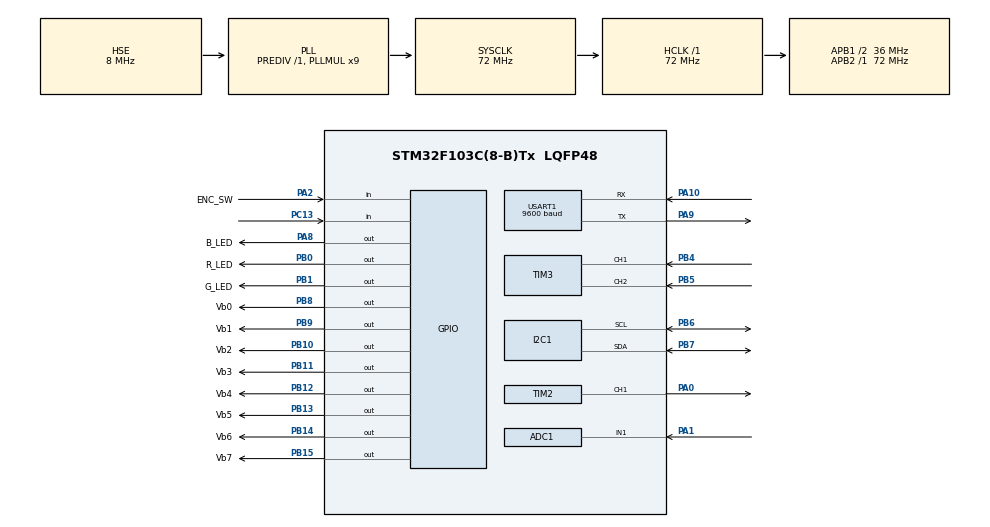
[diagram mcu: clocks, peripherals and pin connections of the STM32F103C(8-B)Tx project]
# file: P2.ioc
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ADC1.Channel-3\#ChannelRegularConversion=ADC_CHANNEL_1
ADC1.NbrOfConversionFlag=1
ADC1.Rank-3\#ChannelRegularConversion=1
ADC1.SamplingTime-3\#ChannelRegularConversion=ADC_SAMPLETIME_71CYCLES_5
ADC1.master=1
Mcu.Family=STM32F1
Mcu.Name=STM32F103C(8-B)Tx
Mcu.Package=LQFP48
NVIC.PriorityGroup=NVIC_PRIORITYGROUP_4
NVIC.TIM2_IRQn=true\:0\:0\:false\:false\:true\:true\:true\:true
NVIC.USART1_IRQn=true\:0\:0\:false\:false\:true\:true\:true\:true
PA0-WKUP.Signal=S_TIM2_CH1_ETR
PA1.Signal=ADCx_IN1
PA10.Mode=Asynchronous
PA10.Signal=USART1_RX
PA13.Mode=Serial_Wire
PA13.Signal=SYS_JTMS-SWDIO
PA14.Mode=Serial_Wire
PA14.Signal=SYS_JTCK-SWCLK
PA2.GPIO_Label=ENC_SW
PA2.GPIO_PuPd=GPIO_PULLUP
PA2.Signal=GPIO_Input
PA8.GPIO_Label=B_LED
PA8.Signal=GPIO_Output
PA9.Mode=Asynchronous
PA9.Signal=USART1_TX
PB0.GPIO_Label=R_LED
PB0.Signal=GPIO_Output
PB1.GPIO_Label=G_LED
PB1.Signal=GPIO_Output
PB10.GPIO_Label=Vb2
PB10.GPIO_Speed=GPIO_SPEED_FREQ_HIGH
PB10.Signal=GPIO_Output
PB11.GPIO_Label=Vb3
PB11.GPIO_Speed=GPIO_SPEED_FREQ_HIGH
PB11.Signal=GPIO_Output
PB12.GPIO_Label=Vb4
PB12.GPIO_Speed=GPIO_SPEED_FREQ_HIGH
PB12.Signal=GPIO_Output
PB13.GPIO_Label=Vb5
PB13.GPIO_Speed=GPIO_SPEED_FREQ_HIGH
PB13.Signal=GPIO_Output
PB14.GPIO_Label=Vb6
PB14.GPIO_Speed=GPIO_SPEED_FREQ_HIGH
PB14.Signal=GPIO_Output
PB15.GPIO_Label=Vb7
PB15.GPIO_Speed=GPIO_SPEED_FREQ_HIGH
PB15.Signal=GPIO_Output
PB4.Signal=S_TIM3_CH1
PB5.Signal=S_TIM3_CH2
PB6.Mode=I2C
PB6.Signal=I2C1_SCL
PB7.Mode=I2C
PB7.Signal=I2C1_SDA
PB8.GPIO_Label=Vb0
PB8.GPIO_Speed=GPIO_SPEED_FREQ_HIGH
PB8.Signal=GPIO_Output
PB9.GPIO_Label=Vb1
PB9.GPIO_Speed=GPIO_SPEED_FREQ_HIGH
PB9.Signal=GPIO_Output
PC13-TAMPER-RTC.GPIO_PuPd=GPIO_PULLUP
PC13-TAMPER-RTC.Signal=GPIO_Input
PD0-OSC_IN.Mode=HSE-External-Oscillator
PD0-OSC_IN.Signal=RCC_OSC_IN
PD1-OSC_OUT.Mode=HSE-External-Oscillator
PD1-OSC_OUT.Signal=RCC_OSC_OUT
ProjectManager.HeapSize=0x200
ProjectManager.StackSize=0x400
ProjectManager.TargetToolchain=Makefile
RCC.ADCPresc=RCC_ADCPCLK2_DIV6
RCC.AHBFreq_Value=72000000
RCC.APB1CLKDivider=RCC_HCLK_DIV2
RCC.APB1Freq_Value=36000000
RCC.APB1TimFreq_Value=72000000
RCC.APB2Freq_Value=72000000
RCC.APB2TimFreq_Value=72000000
RCC.HCLKFreq_Value=72000000
RCC.PLLMUL=RCC_PLL_MUL9
RCC.PLLSourceVirtual=RCC_PLLSOURCE_HSE
RCC.SYSCLKFreq_VALUE=72000000
RCC.SYSCLKSource=RCC_SYSCLKSOURCE_PLLCLK
RCC.USBFreq_Value=72000000
SH.ADCx_IN1.0=ADC1_IN1,IN1
SH.S_TIM2_CH1_ETR.0=TIM2_CH1,Output Compare1 CH1
SH.S_TIM3_CH1.0=TIM3_CH1,Encoder_Interface
SH.S_TIM3_CH2.0=TIM3_CH2,Encoder_Interface
TIM2.Channel-Output\ Compare1\ CH1=TIM_CHANNEL_1
TIM2.Period=100
TIM2.Prescaler=7199
TIM3.EncoderMode=TIM_ENCODERMODE_TI12
USART1.BaudRate=9600
USART1.StopBits=STOPBITS_1
USART1.VirtualMode=VM_ASYNC
VP_TIM2_VS_ClockSourceINT.Mode=Internal
board=custom

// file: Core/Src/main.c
/* USER CODE BEGIN Header */
/**
 ******************************************************************************
 * @file           : main.c
 * @brief          : Main program body
 ******************************************************************************
 * @attention
 *
 * Copyright (c) 2026 STMicroelectronics.
 * All rights reserved.
 *
 * This software is licensed under terms that can be found in the LICENSE file
 * in the root directory of this software component.
 * If no LICENSE file comes with this software, it is provided AS-IS.
 *
 ******************************************************************************
 */
/* USER CODE END Header */
#include "main.h"

/* USER CODE BEGIN Includes */
#include <string.h>
#include <stdio.h>
#include <stdlib.h>
/* USER CODE END Includes */

/* USER CODE BEGIN PTD */
typedef struct
{
  uint16_t raw_reading;
  uint16_t corrected_value;
} lut_point_t;

/* USER CODE END PTD */

/* USER CODE BEGIN PD */
#define STABILIZER_KP_DIVISOR 16
#define STABILIZER_MAX_STEP 10
#define STABILIZER_DEADBAND 5
#define UART_RX_BUFFER_SIZE 32
#define VREF 3.325f
#define ADC_DIVISOR 3

/* USER CODE END PD */

ADC_HandleTypeDef hadc1;

I2C_HandleTypeDef hi2c1;

TIM_HandleTypeDef htim2;
TIM_HandleTypeDef htim3;

UART_HandleTypeDef huart1;

/* USER CODE BEGIN PV */
volatile uint8_t flag_log_adc = 0;
volatile uint32_t adc_accumulator = 0;
volatile uint8_t adc_sample_count = 0;
volatile uint32_t adc_avg = 0;
volatile int16_t previous_encoder_count = 0;
volatile float u_target_voltage = 0;
volatile uint16_t adc_target = (uint16_t)((0 * 4095.0f) / (ADC_DIVISOR * VREF));
volatile uint8_t dac_output = 0;
uint32_t adc_corrected = 0;
uint8_t state = 0;

// ADC Non Linear Characteristic Compensation LUT
const lut_point_t adc_correction_lut[] = {
    {0, 0},
    {6, 66},
    {72, 130},
    {160, 226},
    {244, 306},
    {357, 424},
    {440, 496},
    {564, 635},
    {644, 716},
    {770, 833},
    {930, 999},
    {1013, 1081},
    {1140, 1211},
    {1223, 1292},
    {1307, 1373},
    {1380, 1449},
    {1554, 1624},
    {1675, 1740},
    {1883, 1938},
    {1951, 2035},
    {2293, 2344},
    {2584, 2631},
    {2664, 2709},
    {2754, 2804},
    {2830, 2878},
    {2904, 2952},
    {3019, 3067},
    {3116, 3161},
    {3313, 3362},
    {3391, 3436},
    {3527, 3572},
    {3663, 3707}};
const int adc_lut_size = sizeof(adc_correction_lut) / sizeof(adc_correction_lut[0]);

// UART command processing
volatile uint8_t uart_rx_buffer[UART_RX_BUFFER_SIZE];
volatile uint8_t uart_rx_index = 0;
volatile uint8_t uart_cmd_ready_flag = 0;
uint8_t uart_rx_char[1]; // Buffer for HAL_UART_Receive_IT

/* USER CODE END PV */

void SystemClock_Config(void);
static void MX_GPIO_Init(void);
static void MX_ADC1_Init(void);
static void MX_TIM2_Init(void);
static void MX_USART1_UART_Init(void);
static void MX_I2C1_Init(void);
static void MX_TIM3_Init(void);
/* USER CODE BEGIN PFP */

void CycleRGBLED(int numCycles, int delayMs);
void LogGPIOState(GPIO_TypeDef *GPIOx, uint16_t GPIO_Pin);
void LogStartupMessage(void);
void WritePortByte(GPIO_TypeDef *GPIOx, uint8_t isHighByte, uint8_t value);
void ISR_ReadADC(void);
void App_LogData(void);
void App_DigitalStabilizer(void);
uint8_t App_KillSwitch_Check(void);
uint32_t ApplyADCCorrection(uint32_t raw_value);
void App_ProcessUartCommand(void);
void App_HandleEncoderRotation(void);
void ChangeState(void);

/* USER CODE END PFP */

int main(void)
{

  /* MCU Configuration--------------------------------------------------------*/

  /* Reset of all peripherals, Initializes the Flash interface and the Systick. */
  HAL_Init();

  /* Configure the system clock */
  SystemClock_Config();

  /* Initialize all configured peripherals */
  MX_GPIO_Init();
  MX_ADC1_Init();
  MX_TIM2_Init();
  MX_USART1_UART_Init();
  MX_I2C1_Init();
  MX_TIM3_Init();
  /* USER CODE BEGIN 2 */

  // Start 10ms time base
  HAL_TIM_Base_Start_IT(&htim2);

  // Start encoder hardware reading
  HAL_TIM_Encoder_Start(&htim3, TIM_CHANNEL_ALL);

  previous_encoder_count = (int16_t)__HAL_TIM_GET_COUNTER(&htim3);

  LogStartupMessage();

  // Start listening for UART commands
  HAL_UART_Receive_IT(&huart1, uart_rx_char, 1);

  // Cycle through RGB colors at startup in a blocking manner
  CycleRGBLED(1, 300);
  /* USER CODE END 2 */

  /* Infinite loop */
  /* USER CODE BEGIN WHILE */
  while (1)
  {
    App_KillSwitch_Check();

    ChangeState();
    App_ProcessUartCommand();
    App_HandleEncoderRotation();

    if (state == 1)
    {
      App_LogData();
      App_DigitalStabilizer();
    }
    /* USER CODE END WHILE */

  }
}

void SystemClock_Config(void)
{
  RCC_OscInitTypeDef RCC_OscInitStruct = {0};
  RCC_ClkInitTypeDef RCC_ClkInitStruct = {0};
  RCC_PeriphCLKInitTypeDef PeriphClkInit = {0};

  /** Initializes the RCC Oscillators according to the specified parameters
   * in the RCC_OscInitTypeDef structure.
   */
  RCC_OscInitStruct.OscillatorType = RCC_OSCILLATORTYPE_HSE;
  RCC_OscInitStruct.HSEState = RCC_HSE_ON;
  RCC_OscInitStruct.HSEPredivValue = RCC_HSE_PREDIV_DIV1;
  RCC_OscInitStruct.HSIState = RCC_HSI_ON;
  RCC_OscInitStruct.PLL.PLLState = RCC_PLL_ON;
  RCC_OscInitStruct.PLL.PLLSource = RCC_PLLSOURCE_HSE;
  RCC_OscInitStruct.PLL.PLLMUL = RCC_PLL_MUL9;
  if (HAL_RCC_OscConfig(&RCC_OscInitStruct) != HAL_OK)
  {
    Error_Handler();
  }

  /** Initializes the CPU, AHB and APB buses clocks
   */
  RCC_ClkInitStruct.ClockType = RCC_CLOCKTYPE_HCLK | RCC_CLOCKTYPE_SYSCLK | RCC_CLOCKTYPE_PCLK1 | RCC_CLOCKTYPE_PCLK2;
  RCC_ClkInitStruct.SYSCLKSource = RCC_SYSCLKSOURCE_PLLCLK;
  RCC_ClkInitStruct.AHBCLKDivider = RCC_SYSCLK_DIV1;
  RCC_ClkInitStruct.APB1CLKDivider = RCC_HCLK_DIV2;
  RCC_ClkInitStruct.APB2CLKDivider = RCC_HCLK_DIV1;

  if (HAL_RCC_ClockConfig(&RCC_ClkInitStruct, FLASH_LATENCY_2) != HAL_OK)
  {
    Error_Handler();
  }
  PeriphClkInit.PeriphClockSelection = RCC_PERIPHCLK_ADC;
  PeriphClkInit.AdcClockSelection = RCC_ADCPCLK2_DIV6;
  if (HAL_RCCEx_PeriphCLKConfig(&PeriphClkInit) != HAL_OK)
  {
    Error_Handler();
  }
}

static void MX_ADC1_Init(void)
{

  ADC_ChannelConfTypeDef sConfig = {0};

  /** Common config
   */
  hadc1.Instance = ADC1;
  hadc1.Init.ScanConvMode = ADC_SCAN_DISABLE;
  hadc1.Init.ContinuousConvMode = DISABLE;
  hadc1.Init.DiscontinuousConvMode = DISABLE;
  hadc1.Init.ExternalTrigConv = ADC_SOFTWARE_START;
  hadc1.Init.DataAlign = ADC_DATAALIGN_RIGHT;
  hadc1.Init.NbrOfConversion = 1;
  if (HAL_ADC_Init(&hadc1) != HAL_OK)
  {
    Error_Handler();
  }

  /** Configure Regular Channel
   */
  sConfig.Channel = ADC_CHANNEL_1;
  sConfig.Rank = ADC_REGULAR_RANK_1;
  sConfig.SamplingTime = ADC_SAMPLETIME_71CYCLES_5;
  if (HAL_ADC_ConfigChannel(&hadc1, &sConfig) != HAL_OK)
  {
    Error_Handler();
  }
}

static void MX_I2C1_Init(void)
{

  hi2c1.Instance = I2C1;
  hi2c1.Init.ClockSpeed = 100000;
  hi2c1.Init.DutyCycle = I2C_DUTYCYCLE_2;
  hi2c1.Init.OwnAddress1 = 0;
  hi2c1.Init.AddressingMode = I2C_ADDRESSINGMODE_7BIT;
  hi2c1.Init.DualAddressMode = I2C_DUALADDRESS_DISABLE;
  hi2c1.Init.OwnAddress2 = 0;
  hi2c1.Init.GeneralCallMode = I2C_GENERALCALL_DISABLE;
  hi2c1.Init.NoStretchMode = I2C_NOSTRETCH_DISABLE;
  if (HAL_I2C_Init(&hi2c1) != HAL_OK)
  {
    Error_Handler();
  }
}

static void MX_TIM2_Init(void)
{

  TIM_ClockConfigTypeDef sClockSourceConfig = {0};
  TIM_MasterConfigTypeDef sMasterConfig = {0};
  TIM_OC_InitTypeDef sConfigOC = {0};

  htim2.Instance = TIM2;
  htim2.Init.Prescaler = 7199;
  htim2.Init.CounterMode = TIM_COUNTERMODE_UP;
  htim2.Init.Period = 100;
  htim2.Init.ClockDivision = TIM_CLOCKDIVISION_DIV1;
  htim2.Init.AutoReloadPreload = TIM_AUTORELOAD_PRELOAD_DISABLE;
  if (HAL_TIM_Base_Init(&htim2) != HAL_OK)
  {
    Error_Handler();
  }
  sClockSourceConfig.ClockSource = TIM_CLOCKSOURCE_INTERNAL;
  if (HAL_TIM_ConfigClockSource(&htim2, &sClockSourceConfig) != HAL_OK)
  {
    Error_Handler();
  }
  if (HAL_TIM_OC_Init(&htim2) != HAL_OK)
  {
    Error_Handler();
  }
  sMasterConfig.MasterOutputTrigger = TIM_TRGO_RESET;
  sMasterConfig.MasterSlaveMode = TIM_MASTERSLAVEMODE_DISABLE;
  if (HAL_TIMEx_MasterConfigSynchronization(&htim2, &sMasterConfig) != HAL_OK)
  {
    Error_Handler();
  }
  sConfigOC.OCMode = TIM_OCMODE_TIMING;
  sConfigOC.Pulse = 0;
  sConfigOC.OCPolarity = TIM_OCPOLARITY_HIGH;
  sConfigOC.OCFastMode = TIM_OCFAST_DISABLE;
  if (HAL_TIM_OC_ConfigChannel(&htim2, &sConfigOC, TIM_CHANNEL_1) != HAL_OK)
  {
    Error_Handler();
  }
  HAL_TIM_MspPostInit(&htim2);
}

static void MX_TIM3_Init(void)
{

  TIM_Encoder_InitTypeDef sConfig = {0};
  TIM_MasterConfigTypeDef sMasterConfig = {0};

  htim3.Instance = TIM3;
  htim3.Init.Prescaler = 0;
  htim3.Init.CounterMode = TIM_COUNTERMODE_UP;
  htim3.Init.Period = 65535;
  htim3.Init.ClockDivision = TIM_CLOCKDIVISION_DIV1;
  htim3.Init.AutoReloadPreload = TIM_AUTORELOAD_PRELOAD_DISABLE;
  sConfig.EncoderMode = TIM_ENCODERMODE_TI12;
  sConfig.IC1Polarity = TIM_ICPOLARITY_RISING;
  sConfig.IC1Selection = TIM_ICSELECTION_DIRECTTI;
  sConfig.IC1Prescaler = TIM_ICPSC_DIV1;
  sConfig.IC1Filter = 0;
  sConfig.IC2Polarity = TIM_ICPOLARITY_RISING;
  sConfig.IC2Selection = TIM_ICSELECTION_DIRECTTI;
  sConfig.IC2Prescaler = TIM_ICPSC_DIV1;
  sConfig.IC2Filter = 0;
  if (HAL_TIM_Encoder_Init(&htim3, &sConfig) != HAL_OK)
  {
    Error_Handler();
  }
  sMasterConfig.MasterOutputTrigger = TIM_TRGO_RESET;
  sMasterConfig.MasterSlaveMode = TIM_MASTERSLAVEMODE_DISABLE;
  if (HAL_TIMEx_MasterConfigSynchronization(&htim3, &sMasterConfig) != HAL_OK)
  {
    Error_Handler();
  }
}

static void MX_USART1_UART_Init(void)
{

  huart1.Instance = USART1;
  huart1.Init.BaudRate = 9600;
  huart1.Init.WordLength = UART_WORDLENGTH_8B;
  huart1.Init.StopBits = UART_STOPBITS_1;
  huart1.Init.Parity = UART_PARITY_NONE;
  huart1.Init.Mode = UART_MODE_TX_RX;
  huart1.Init.HwFlowCtl = UART_HWCONTROL_NONE;
  huart1.Init.OverSampling = UART_OVERSAMPLING_16;
  if (HAL_UART_Init(&huart1) != HAL_OK)
  {
    Error_Handler();
  }
}

static void MX_GPIO_Init(void)
{
  GPIO_InitTypeDef GPIO_InitStruct = {0};

  /* GPIO Ports Clock Enable */
  __HAL_RCC_GPIOC_CLK_ENABLE();
  __HAL_RCC_GPIOD_CLK_ENABLE();
  __HAL_RCC_GPIOA_CLK_ENABLE();
  __HAL_RCC_GPIOB_CLK_ENABLE();

  /*Configure GPIO pin Output Level */
  HAL_GPIO_WritePin(GPIOB, R_LED_Pin | G_LED_Pin | Vb2_Pin | Vb3_Pin | Vb4_Pin | Vb5_Pin | Vb6_Pin | Vb7_Pin | Vb0_Pin | Vb1_Pin, GPIO_PIN_RESET);

  /*Configure GPIO pin Output Level */
  HAL_GPIO_WritePin(B_LED_GPIO_Port, B_LED_Pin, GPIO_PIN_RESET);

  /*Configure GPIO pin : PC13 */
  GPIO_InitStruct.Pin = GPIO_PIN_13;
  GPIO_InitStruct.Mode = GPIO_MODE_INPUT;
  GPIO_InitStruct.Pull = GPIO_PULLUP;
  HAL_GPIO_Init(GPIOC, &GPIO_InitStruct);

  /*Configure GPIO pin : ENC_SW_Pin */
  GPIO_InitStruct.Pin = ENC_SW_Pin;
  GPIO_InitStruct.Mode = GPIO_MODE_INPUT;
  GPIO_InitStruct.Pull = GPIO_PULLUP;
  HAL_GPIO_Init(ENC_SW_GPIO_Port, &GPIO_InitStruct);

  /*Configure GPIO pins : R_LED_Pin G_LED_Pin */
  GPIO_InitStruct.Pin = R_LED_Pin | G_LED_Pin;
  GPIO_InitStruct.Mode = GPIO_MODE_OUTPUT_PP;
  GPIO_InitStruct.Pull = GPIO_NOPULL;
  GPIO_InitStruct.Speed = GPIO_SPEED_FREQ_LOW;
  HAL_GPIO_Init(GPIOB, &GPIO_InitStruct);

  /*Configure GPIO pins : Vb2_Pin Vb3_Pin Vb4_Pin Vb5_Pin
                           Vb6_Pin Vb7_Pin Vb0_Pin Vb1_Pin */
  GPIO_InitStruct.Pin = Vb2_Pin | Vb3_Pin | Vb4_Pin | Vb5_Pin | Vb6_Pin | Vb7_Pin | Vb0_Pin | Vb1_Pin;
  GPIO_InitStruct.Mode = GPIO_MODE_OUTPUT_PP;
  GPIO_InitStruct.Pull = GPIO_NOPULL;
  GPIO_InitStruct.Speed = GPIO_SPEED_FREQ_HIGH;
  HAL_GPIO_Init(GPIOB, &GPIO_InitStruct);

  /*Configure GPIO pin : B_LED_Pin */
  GPIO_InitStruct.Pin = B_LED_Pin;
  GPIO_InitStruct.Mode = GPIO_MODE_OUTPUT_PP;
  GPIO_InitStruct.Pull = GPIO_NOPULL;
  GPIO_InitStruct.Speed = GPIO_SPEED_FREQ_LOW;
  HAL_GPIO_Init(B_LED_GPIO_Port, &GPIO_InitStruct);

}

/* USER CODE BEGIN 4 */

/// @brief Applies correction to a raw ADC value using an interpolated Look-Up Table.
/// @param raw_value The raw ADC value to be corrected.
/// @return The corrected ADC value.
uint32_t ApplyADCCorrection(uint32_t raw_value)
{
  // If the LUT is empty or has only one point, no interpolation is possible. Return the raw value.
  if (adc_lut_size < 2)
  {
    return raw_value;
  }

  // Handle boundary conditions: if the value is outside the table's range,
  // clamp it to the nearest boundary's corrected value.
  if (raw_value <= adc_correction_lut[0].raw_reading)
  {
    return adc_correction_lut[0].corrected_value;
  }
  if (raw_value >= adc_correction_lut[adc_lut_size - 1].raw_reading)
  {
    return adc_correction_lut[adc_lut_size - 1].corrected_value;
  }

  // Find the two points in the LUT that bracket the raw_value.
  // The table is assumed to be sorted by raw_reading.
  for (int i = 0; i < adc_lut_size - 1; i++)
  {
    if (raw_value >= adc_correction_lut[i].raw_reading && raw_value <= adc_correction_lut[i + 1].raw_reading)
    {
      // Found the segment. Perform linear interpolation.
      uint32_t x0 = adc_correction_lut[i].raw_reading;
      uint32_t y0 = adc_correction_lut[i].corrected_value;
      uint32_t x1 = adc_correction_lut[i + 1].raw_reading;
      uint32_t y1 = adc_correction_lut[i + 1].corrected_value;

      // Use 64-bit integers for intermediate calculations to prevent overflow.
      int64_t numerator = (int64_t)(raw_value - x0) * (int64_t)(y1 - y0);
      int64_t denominator = (int64_t)(x1 - x0);

      // Return the interpolated value. Avoid division by zero.
      return (denominator != 0) ? (y0 + (uint32_t)(numerator / denominator)) : y0;
    }
  }

  // Should not be reached if the value is within the table range, but as a fallback:
  return raw_value;
}

/// @brief Processes commands received over UART.
///        Parses commands to update the ADC target value.
///        Supported commands: +, -, V=<float>, T=<int>
void App_ProcessUartCommand(void)
{
  // Check if a command is ready to be processed.
  if (uart_cmd_ready_flag)
  {
    // Use a local buffer to safely process the command without race conditions.
    char cmd_buffer[UART_RX_BUFFER_SIZE];

    // Create a critical section to atomically copy the command and clear the flag.
    __disable_irq();
    strcpy(cmd_buffer, (const char *)uart_rx_buffer);
    uart_cmd_ready_flag = 0; // Clear the flag immediately so the ISR can receive the next command.
    __enable_irq();

    // Now, parse the command from the safe local buffer.
    uint8_t flag_target_updated_serial = 0;

    // Check for incremental commands
    if (strcmp(cmd_buffer, "+") == 0)
    {
      u_target_voltage += 0.1f;
      flag_target_updated_serial = 1;
    }
    else if (strcmp(cmd_buffer, "-") == 0)
    {
      u_target_voltage -= 0.1f;
      flag_target_updated_serial = 1;
    }
    else
    {
      // Command not recognized
      char msg[40];
      sprintf(msg, "ERR: Unknown cmd. Use: + or -\r\n");
      HAL_UART_Transmit(&huart1, (uint8_t *)msg, strlen(msg), 100);
    }

    if (flag_target_updated_serial)
    {
      // Clamp the target voltage to a safe/valid range
      const float max_voltage = VREF * ADC_DIVISOR;
      if (u_target_voltage < 0.0f)
        u_target_voltage = 0.0f;
      if (u_target_voltage > max_voltage)
        u_target_voltage = max_voltage;

      // Update the integer adc_target from the float voltage
      __disable_irq();
      adc_target = (uint16_t)((u_target_voltage * 4095.0f) / (VREF * ADC_DIVISOR));
      __enable_irq();

      // Log confirmation message
      char msg[60];
      uint32_t v_int = (uint32_t)u_target_voltage;
      uint32_t v_frac = (uint32_t)((u_target_voltage - v_int) * 100);
      int len = sprintf(msg, "OK: Target set to %lu.%02luV (ADC: %u)\r\n", v_int, v_frac, adc_target);
      HAL_UART_Transmit(&huart1, (uint8_t *)msg, len, 100);
    }
  }
}

/// @brief Loggs startup message through UART1
/// @param
void LogStartupMessage(void)
{
  char *msg = "P2 v.1 running\r\n";

  HAL_UART_Transmit(&huart1, (uint8_t *)msg, strlen(msg), HAL_MAX_DELAY);
}

/// @brief  Cycles through a blocking R-G-B sequence on the built-in RGB LED.
/// @param numCycles The number of times to cycle through Red, Green, and Blue.
/// @param delayMs The time in milliseconds to keep each color on.
void CycleRGBLED(int numCycles, int delayMs)
{
  for (int i = 0; i < numCycles; i++)
  {
    // --- RED ---
    HAL_GPIO_WritePin(GPIOB, G_LED_Pin, GPIO_PIN_RESET);
    HAL_GPIO_WritePin(GPIOA, B_LED_Pin, GPIO_PIN_RESET);
    HAL_GPIO_WritePin(GPIOB, R_LED_Pin, GPIO_PIN_SET);
    HAL_Delay(delayMs);

    // --- GREEN ---
    HAL_GPIO_WritePin(GPIOB, R_LED_Pin, GPIO_PIN_RESET);
    HAL_GPIO_WritePin(GPIOB, G_LED_Pin, GPIO_PIN_SET);
    HAL_Delay(delayMs);

    // --- BLUE ---
    HAL_GPIO_WritePin(GPIOB, G_LED_Pin, GPIO_PIN_RESET);
    HAL_GPIO_WritePin(GPIOA, B_LED_Pin, GPIO_PIN_SET);
    HAL_Delay(delayMs);
  }

  // Turn all LEDs off at the end of the sequence.
  HAL_GPIO_WritePin(GPIOB, R_LED_Pin, GPIO_PIN_RESET);
  HAL_GPIO_WritePin(GPIOB, G_LED_Pin, GPIO_PIN_RESET);
  HAL_GPIO_WritePin(GPIOA, B_LED_Pin, GPIO_PIN_RESET);
}

/// @brief Loggs State of GPIOx_Pin through UART1
/// @param GPIOx
/// @param GPIO_Pin
void LogGPIOState(GPIO_TypeDef *GPIOx, uint16_t GPIO_Pin)
{
  GPIO_PinState state = HAL_GPIO_ReadPin(GPIOx, GPIO_Pin);
  char *port_name;
  if (GPIOx == GPIOA)
    port_name = "GPIOA";
  else if (GPIOx == GPIOB)
    port_name = "GPIOB";
  else if (GPIOx == GPIOC)
    port_name = "GPIOC";
  else
    port_name = "UNKNOWN";
  int pin_num = 0;
  uint16_t temp = GPIO_Pin;
  while (temp > 1)
  {
    temp >>= 1;
    pin_num++;
  }
  char msg[50];
  if (state == GPIO_PIN_SET)
  {
    sprintf(msg, "%s Pin %d is ACTIVE (High)\r\n", port_name, pin_num);
  }
  else
  {
    sprintf(msg, "%s Pin %d is INACTIVE (Low)\r\n", port_name, pin_num);
  }
  HAL_UART_Transmit(&huart1, (uint8_t *)msg, strlen(msg), HAL_MAX_DELAY);
}

/// @brief Atomically writes an 8-bit value to either the high or low byte of a given GPIO port
/// @param GPIOx Port to write to (e.g., GPIOB)
/// @param isHighByte 1 to target pins 8-15, 0 to target pins 0-7
/// @param value 8-bit value to write
void WritePortByte(GPIO_TypeDef *GPIOx, uint8_t isHighByte, uint8_t value)
{
  if (isHighByte)
  {
    // Target pins 8-15: Set mask shifted by 8, Reset mask shifted by 24
    GPIOx->BSRR = ((uint32_t)value << 8) | ((uint32_t)(~value & 0xFF) << 24);
  }
  else
  {
    // Target pins 0-7: Set mask shifted by 0, Reset mask shifted by 16
    GPIOx->BSRR = (uint32_t)value | ((uint32_t)(~value & 0xFF) << 16);
  }
}

/// @brief Reads ADC value and accumulates it for averaging.
/// @param
void ISR_ReadADC(void)
{
  HAL_ADC_Start(&hadc1);

  // Poll inside ISR for EOC flag
  uint32_t timeout = 1000;
  while (__HAL_ADC_GET_FLAG(&hadc1, ADC_FLAG_EOC) == RESET && timeout > 0)
  {
    timeout--;
  }

  if (timeout > 0) // Conversion finished successfully
  {
    uint32_t adc_raw_value = HAL_ADC_GetValue(&hadc1);

    // Accumulate data for the digital stabilizer
    adc_accumulator += adc_raw_value;
    adc_sample_count++;
  }
}

/// @brief Counts adc_sample_counts and performs an average.
///        Then computes the error and the dynamic step necesarry to correct it
/// @param
void App_DigitalStabilizer(void)
{
  // Process only if 10 readings have been accumulated (100ms at 10ms rate)
  if (adc_sample_count >= 10)
  {
    // Copy and reset data atomically to prevent race conditions with the interrupt
    __disable_irq();
    uint32_t acc_copy = adc_accumulator;
    uint8_t count_copy = adc_sample_count;
    adc_accumulator = 0;
    adc_sample_count = 0;
    __enable_irq();

    // Compute the average of the accumulated ADC samples
    adc_avg = acc_copy / count_copy;

    // Apply LUT-based correction to the averaged value
    adc_corrected = ApplyADCCorrection(adc_avg);

    // Slow comparator
    int32_t error = adc_target - adc_corrected;
    int32_t step = 0;

    // Apply deadband to prevent constant small adjustments
    if (abs(error) > STABILIZER_DEADBAND)
    {
      // Calculate proportional step
      step = error / STABILIZER_KP_DIVISOR;

      // Limit the step size to prevent aggressive changes
      if (step > STABILIZER_MAX_STEP)
      {
        step = STABILIZER_MAX_STEP;
      }
      else if (step < -STABILIZER_MAX_STEP)
      {
        step = -STABILIZER_MAX_STEP;
      }
    }

    // Adjust dac_output
    int32_t new_dac_output = (int32_t)dac_output + step;

    // Clamp dac_output to valid range (0-255)
    if (new_dac_output > 255)
    {
      dac_output = 255;
    }
    else if (new_dac_output < 0)
    {
      dac_output = 0;
    }
    else
    {
      dac_output = (uint8_t)new_dac_output;
    }

    WritePortByte(GPIOB, 1, dac_output);
  }
}

/// @brief Checks the state of the global kill switch (PC13).
///        If active, it sets outputs to a safe state, signals with LEDs,
///        waits for the switch to be released, and then enters a permanent stop state.
///@retval 1 if the kill switch was active and handled, 0 otherwise.
uint8_t App_KillSwitch_Check(void)
{
  // Global "Kill Switch" check
  if (HAL_GPIO_ReadPin(GPIOC, GPIO_PIN_13) == GPIO_PIN_RESET)
  {
    // Set outputs to a safe state
    WritePortByte(GPIOB, 1, 0); // Set DAC output to 0
    dac_output = 0;

    // Indicate stop state (e.g., red LED on)
    HAL_GPIO_WritePin(GPIOB, R_LED_Pin, GPIO_PIN_SET);
    HAL_GPIO_WritePin(GPIOB, G_LED_Pin, GPIO_PIN_RESET);
    HAL_GPIO_WritePin(GPIOA, B_LED_Pin, GPIO_PIN_RESET);

    // Wait until the button is released
    while (HAL_GPIO_ReadPin(GPIOC, GPIO_PIN_13) == GPIO_PIN_RESET)
    {
    }

    HAL_GPIO_WritePin(GPIOB, R_LED_Pin, GPIO_PIN_RESET);

    // Button released - enter permanent stop state
    // The system will remain in this state until a hardware reset.
    while (1)
    {
    }
  }
  return 0; // Kill switch not active, continue normal operation
}

/// @brief
/// @param
void App_LogData(void)
{
  if (flag_log_adc)
  {
    char msg[90];
    uint32_t voltage_x100 = (adc_corrected * VREF * ADC_DIVISOR * 100 + 2047) / 4095;
    uint32_t v_int = voltage_x100 / 100;
    uint32_t v_frac = voltage_x100 % 100;
    int len = sprintf(msg, "ADC_Avg: %lu | ADC_Corr: %lu | V_Out: %lu.%02luV | DAC: %u | ADC_TARGET: %u\r\n", adc_avg, adc_corrected, v_int, v_frac, dac_output, adc_target);

    HAL_UART_Transmit(&huart1, (uint8_t *)msg, len, 100);
    flag_log_adc = 0;
  }
}

/// @brief
/// @param
void ChangeState(void)
{
  if (HAL_GPIO_ReadPin(GPIOA, ENC_SW_Pin) == GPIO_PIN_RESET)
  {
    while (HAL_GPIO_ReadPin(GPIOA, ENC_SW_Pin) == GPIO_PIN_RESET)
    {
      HAL_GPIO_WritePin(GPIOA, B_LED_Pin, GPIO_PIN_SET);
    }

    HAL_GPIO_WritePin(GPIOA, B_LED_Pin, GPIO_PIN_RESET);

    switch (state)
    {
    case 0:
      state = 1;
      break;
    case 1:
      state = 0;
      break;
    }
  }
}

/// @brief Adjusts the ADC target voltage based on encoder rotation.
///        This function reads the encoder, calculates the change, and updates
///        u_target_voltage and adc_target accordingly.
void App_HandleEncoderRotation(void)
{
  int16_t current_encoder_count = (int16_t)__HAL_TIM_GET_COUNTER(&htim3);
  int16_t encoder_diff = current_encoder_count - previous_encoder_count;

  // Handle potential wrap-around for a 16-bit counter (0 to 65535).
  // Assuming the encoder won't be rotated more than half its range in one loop iteration.
  // The period is (htim3.Init.Period + 1) because it counts from 0 to Period.
  if (encoder_diff > (htim3.Init.Period / 2))
  {
    encoder_diff -= (htim3.Init.Period + 1);
  }
  else if (encoder_diff < -(htim3.Init.Period / 2))
  {
    encoder_diff += (htim3.Init.Period + 1);
  }

  if (encoder_diff != 0)
  {
    // Scaling factor: 0.1V per encoder unit.
    u_target_voltage += (float)encoder_diff * 0.1f;

    // Clamp the target voltage to a valid range
    const float max_voltage = VREF * ADC_DIVISOR;
    if (u_target_voltage < 0.0f)
      u_target_voltage = 0.0f;
    if (u_target_voltage > max_voltage)
      u_target_voltage = max_voltage;

    // Update the integer adc_target from the float voltage
    __disable_irq();
    adc_target = (uint16_t)((u_target_voltage * 4095.0f) / (VREF * ADC_DIVISOR));
    __enable_irq();

    // Update previous encoder count
    previous_encoder_count = current_encoder_count;
  }
}

/// @brief  Rx Transfer completed callback.
/// @param  huart: UART handle
void HAL_UART_RxCpltCallback(UART_HandleTypeDef *huart)
{
  if (huart->Instance == USART1)
  {
    uint8_t received_char = uart_rx_char[0];

    // Handle single-character commands immediately, otherwise buffer for multi-character commands.
    if (received_char == '+' || received_char == '-')
    {
      // Treat '+' and '-' as complete commands
      uart_rx_buffer[0] = received_char;
      uart_rx_buffer[1] = '\0';
      uart_cmd_ready_flag = 1;
      uart_rx_index = 0; // Reset for next command
    }
    else if (received_char == '\r' || received_char == '\n')
    {
      if (uart_rx_index > 0) // Command received
      {
        uart_rx_buffer[uart_rx_index] = '\0'; // Null-terminate the string
        uart_cmd_ready_flag = 1;              // Set flag for main loop to process
        uart_rx_index = 0;                    // Reset for next command
      }
    }
    else
    {
      // Buffer character for multi-character commands (e.g., "T=2048")
      if (uart_rx_index < (UART_RX_BUFFER_SIZE - 1))
      {
        uart_rx_buffer[uart_rx_index++] = received_char;
      }
    }

    // Re-arm the UART receive interrupt
    HAL_UART_Receive_IT(&huart1, uart_rx_char, 1);
  }
}

/// @brief
/// @param htim
void HAL_TIM_PeriodElapsedCallback(TIM_HandleTypeDef *htim)
{
  if (htim->Instance == TIM2)
  {
    ISR_ReadADC();

    // Tick divider from 10ms to 1000ms
    static uint8_t ticks = 0;
    ticks++;
    if (ticks >= 100) // 100 ticks * 10 ms = 1 second
    {
      flag_log_adc = 1; // Send the flag to the main function
      ticks = 0;
    }
  }
}

/* USER CODE END 4 */

void Error_Handler(void)
{
  __disable_irq();
  while (1)
  {
  }
}
